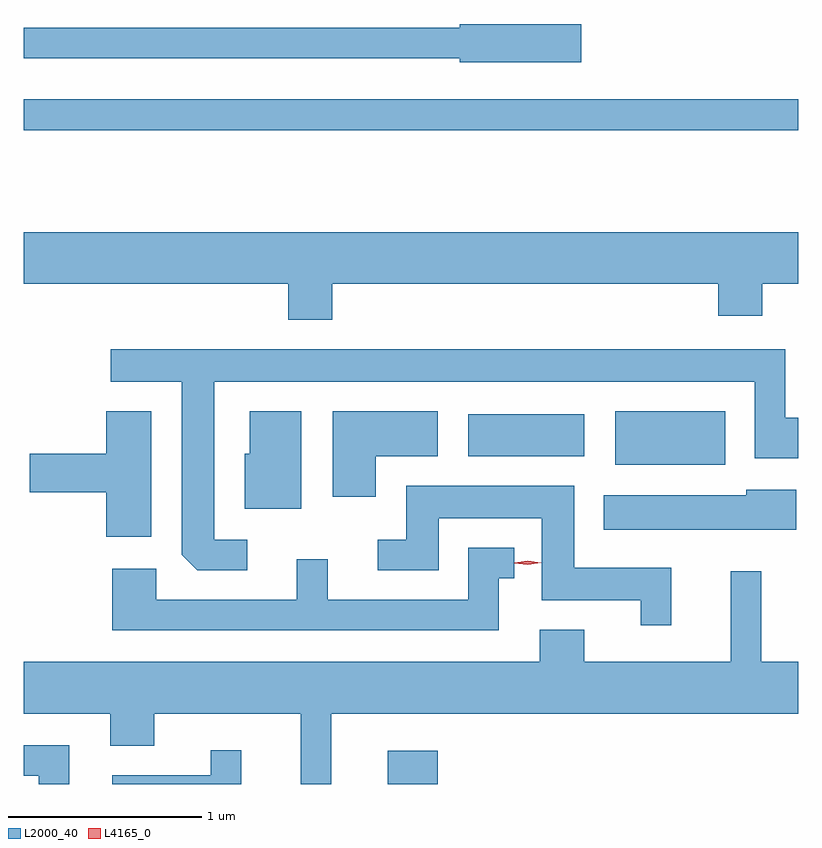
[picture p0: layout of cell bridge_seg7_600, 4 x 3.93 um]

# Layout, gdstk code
import gdstk
lib = gdstk.Library(unit=1e-6, precision=1e-09)
def R(c, l, rs):  # rectangles x0, y0, x1, y1
    for r in rs: c.add(gdstk.rectangle(r[:2], r[2:], *l))
def P(c, l, *ps):  # polygons
    for p in ps: c.add(gdstk.Polygon(p, *l))
L2000_40 = (2000, 40)
L4165_0 = (4165, 0)

bridge_seg7_600 = lib.new_cell('bridge_seg7_600')
R(bridge_seg7_600, L2000_40, [(807.636,1722.833,807.894,1723.004), (808.811,1724.481,809.379,1724.759), (808.051,1724.526,808.649,1724.744), (805.755,1726.211,809.755,1726.369)])
P(bridge_seg7_600, L2000_40, [(808.634,1726.759),(808.006,1726.759),(808.006,1726.739),(805.755,1726.739),(805.755,1726.581),(808.006,1726.581),(808.006,1726.561),(808.634,1726.561)],
  [(807.349,1725.416),(809.341,1725.416),(809.341,1725.251),(809.569,1725.251),(809.569,1725.416),(809.755,1725.416),(809.755,1725.684),(805.755,1725.684),(805.755,1725.416),(807.121,1725.416),(807.121,1725.231),(807.349,1725.231)],
  [(806.908,1724.094),(806.739,1724.094),(806.739,1724.911),(809.531,1724.911),(809.531,1724.516),(809.755,1724.516),(809.755,1724.724),(809.689,1724.724),(809.689,1725.079),(806.203,1725.079),(806.203,1724.911),(806.571,1724.911),(806.571,1724.017),(806.652,1723.936),(806.908,1723.936)],
  [(807.189,1724.759),(806.921,1724.759),(806.921,1724.539),(806.896,1724.539),(806.896,1724.256),(807.189,1724.256)],
  [(807.574,1724.526),(807.894,1724.526),(807.894,1724.759),(807.351,1724.759),(807.351,1724.316),(807.574,1724.316)],
  [(806.414,1724.759),(806.181,1724.759),(806.181,1724.539),(805.786,1724.539),(805.786,1724.341),(806.181,1724.341),(806.181,1724.111),(806.414,1724.111)],
  [(809.099,1723.949),(808.599,1723.949),(808.599,1724.374),(807.731,1724.374),(807.731,1724.094),(807.583,1724.094),(807.583,1723.936),(807.899,1723.936),(807.899,1724.206),(808.431,1724.206),(808.431,1723.781),(808.941,1723.781),(808.941,1723.653),(809.099,1723.653)],
  [(809.744,1724.354),(809.486,1724.354),(809.486,1724.324),(808.751,1724.324),(808.751,1724.146),(809.744,1724.146)],
  [(808.209,1723.896),(808.288,1723.896),(808.288,1724.054),(808.051,1724.054),(808.051,1723.784),(807.324,1723.784),(807.324,1723.993),(807.166,1723.993),(807.166,1723.784),(806.439,1723.784),(806.439,1723.944),(806.211,1723.944),(806.211,1723.626),(808.209,1723.626)],
  [(807.344,1723.196),(809.755,1723.196),(809.755,1723.464),(809.564,1723.464),(809.564,1723.933),(809.406,1723.933),(809.406,1723.464),(808.649,1723.464),(808.649,1723.629),(808.421,1723.629),(808.421,1723.464),(805.755,1723.464),(805.755,1723.196),(806.201,1723.196),(806.201,1723.031),(806.429,1723.031),(806.429,1723.196),(807.186,1723.196),(807.186,1722.833),(807.344,1722.833)],
  [(805.989,1723.034),(805.755,1723.034),(805.755,1722.876),(805.831,1722.876),(805.831,1722.833),(805.989,1722.833)],
  [(806.879,1723.008),(806.721,1723.008),(806.721,1722.879),(806.211,1722.879),(806.211,1722.833),(806.879,1722.833)])
P(bridge_seg7_600, L4165_0, [(808.358,1723.965),(808.289,1723.974),(808.289,1723.975),(808.289,1723.975),(808.358,1723.985),(808.428,1723.976),(808.428,1723.976),(808.428,1723.975)])

lib.write_gds('bridge_seg7_600.gds')
